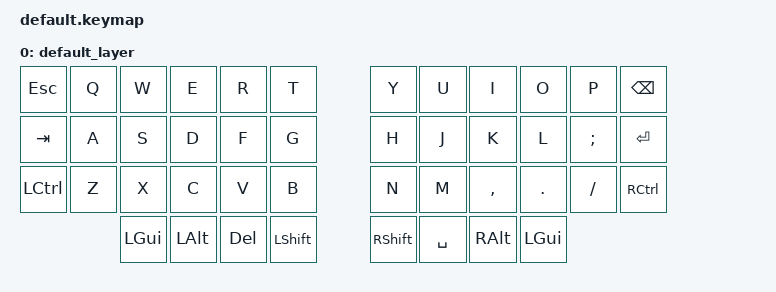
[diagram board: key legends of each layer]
#include <behaviors.dtsi>
#include <dt-bindings/zmk/keys.h>

/ {
    keymap {
        compatible = "zmk,keymap";

        default_layer {
// | ESC  | Q | W | E | R | T |    | Y | U | I | O | P | BKSPC |
// | TAB  | A | S | D | F | G |    | H | J | K | L | ; | ENTER |
// | LCTR | Z | X | C | V | B |    | N | M | , | . | / | RCTR  | 
//            |WIN|ALT|RSE|SFT|    |SFT|LOW|ALT|MNU|

            bindings = <
    &kp ESC    &kp Q    &kp W    &kp E     &kp R     &kp T                  &kp Y     &kp U     &kp I     &kp O     &kp P    &kp BSPC
    &kp TAB    &kp A    &kp S    &kp D     &kp F     &kp G                  &kp H     &kp J     &kp K     &kp L     &kp SEMI &kp RET
    &kp LCTRL  &kp Z    &kp X    &kp C     &kp V     &kp B                  &kp N     &kp M     &kp COMMA &kp DOT   &kp FSLH &kp RCTRL
                        &kp LGUI &kp LALT  &kp DEL   &kp LSHIFT         &kp RSHIFT    &kp SPACE &kp RALT  &kp LGUI
            >;

        };
    };
};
